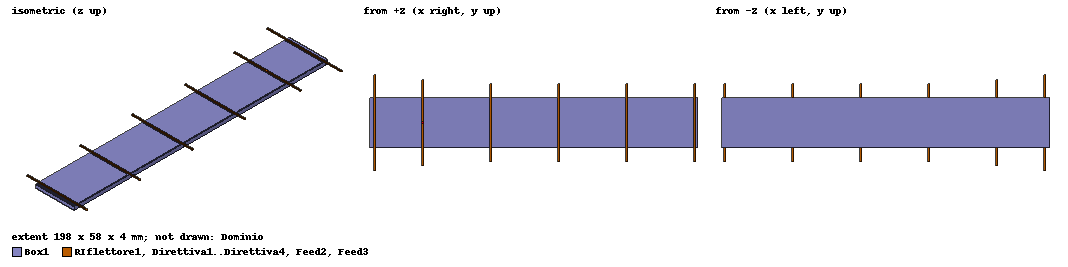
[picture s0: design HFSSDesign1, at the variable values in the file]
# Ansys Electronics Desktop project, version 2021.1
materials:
  vacuum: permittivity=1
  perfect conductor: conductivity=1e+30
  plexiglass: permittivity=3.4 dielectric_loss_tangent=0.001
  copper: permeability=0.999991 conductivity=58000000
  brass: conductivity=15000000
  air: permittivity=1.0006 permeability=1.0000004

design HFSSDesign1 (HFSS, DrivenModal, model units mm)
options: Calculate_Lossy_Dielectrics Save_Adaptive_support_files
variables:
  gap = 1mm
  H = 240mm
  T = c0/f_lab
  f_lab = 2.4GHz
  l1 = 58mm
  l2 = 52mm
  l3 = 47mm
  d1 = 0mm
  d2 = 29mm
  d3 = 70mm
  d4 = 111mm
  d5 = 152mm
  l4 = 47mm
  l5 = 47mm
  l6 = 47mm
  d6 = 193mm
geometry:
  RIflettore1 [copper] = cylinder(axis=Y, base_centre=(d1, -l1/2, 0mm), radius=0.5mm, height=l1)
  Dominio [air] = cylinder(axis=Y, base_centre=(30mm, -H/2, 0mm), radius=200mm, height=H)
  Feed2 [copper] = cylinder(axis=Y, base_centre=(d2, l2/2, 0), radius=0.5mm, height=-l2/2+(gap/2))
  Direttiva1 [copper] = cylinder(axis=Y, base_centre=(d3, (-l3/2), 0mm), radius=0.5mm, height=l3)
  Direttiva2 [copper] = cylinder(axis=Y, base_centre=(d4, -l4/2, 0mm), radius=0.5mm, height=l4)
  Box1 [plexiglass] = box(corner=(-3mm, -15mm, -3.5mm), size=(d6+0.005, 30mm, 3mm))
  Direttiva3 [copper] = cylinder(axis=Y, base_centre=(d5, -l5/2, 0mm), radius=0.5mm, height=l5)
  Feed3 [copper] = cylinder(axis=Y, base_centre=(d2, -l2/2, 0), radius=0.5mm, height=l2/2-(gap/2))
  Rectangle1 = rectangle(corner=(28.58mm, 0.5mm, 0mm), x_size=1mm, y_size=-1mm)
  Direttiva4 [copper] = cylinder(axis=Y, base_centre=(d6, -l6/2, 0mm), radius=0.5mm, height=l5)
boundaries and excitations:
  Rad1: Radiation Faces=Dominio.face(all 3)
  1: Lumped Port Objects=Rectangle1 Modes{Mode1{IntLine{middle of Rectangle1.edge(y opposite corner) -> middle of Rectangle1.edge(y at corner)} CharImp=Zpi RenormImp=50ohm}} Impedance=50ohm
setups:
  Setup1: HfssDriven Frequency=2.4GHz MaxDeltaS=0.02 MaximumPasses=50 MinimumPasses=1 MinimumConvergedPasses=3 PercentRefinement=10 BasisOrder=1 PortAccuracy=2
    sweep Sweep: 2.2GHz to 2.5GHz step 0.02GHz; Type=Fast SaveFields
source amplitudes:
  1:1: 1 0deg
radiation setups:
  Infinite Sphere1: Infinite Sphere Theta=0deg..180deg step 10deg Phi=0deg..360deg step 10deg
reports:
  Coeff riflessione: dB(S(1,1)) vs Freq on Setup1 : Sweep
  Diagr rad: RealizedGainTotal vs Phi, Theta on Setup1 : Sweep, Infinite Sphere1 [Freq=2.3GHz]
  Impedenza: re(Z(1,1)), im(Z(1,1)) vs Freq on Setup1 : Sweep; markers m1 at 2.4GHz, m2 at 2.45GHz, m3 at 2.4GHz, m4 at 2.45GHz, MX1 at x=2.5e+09
